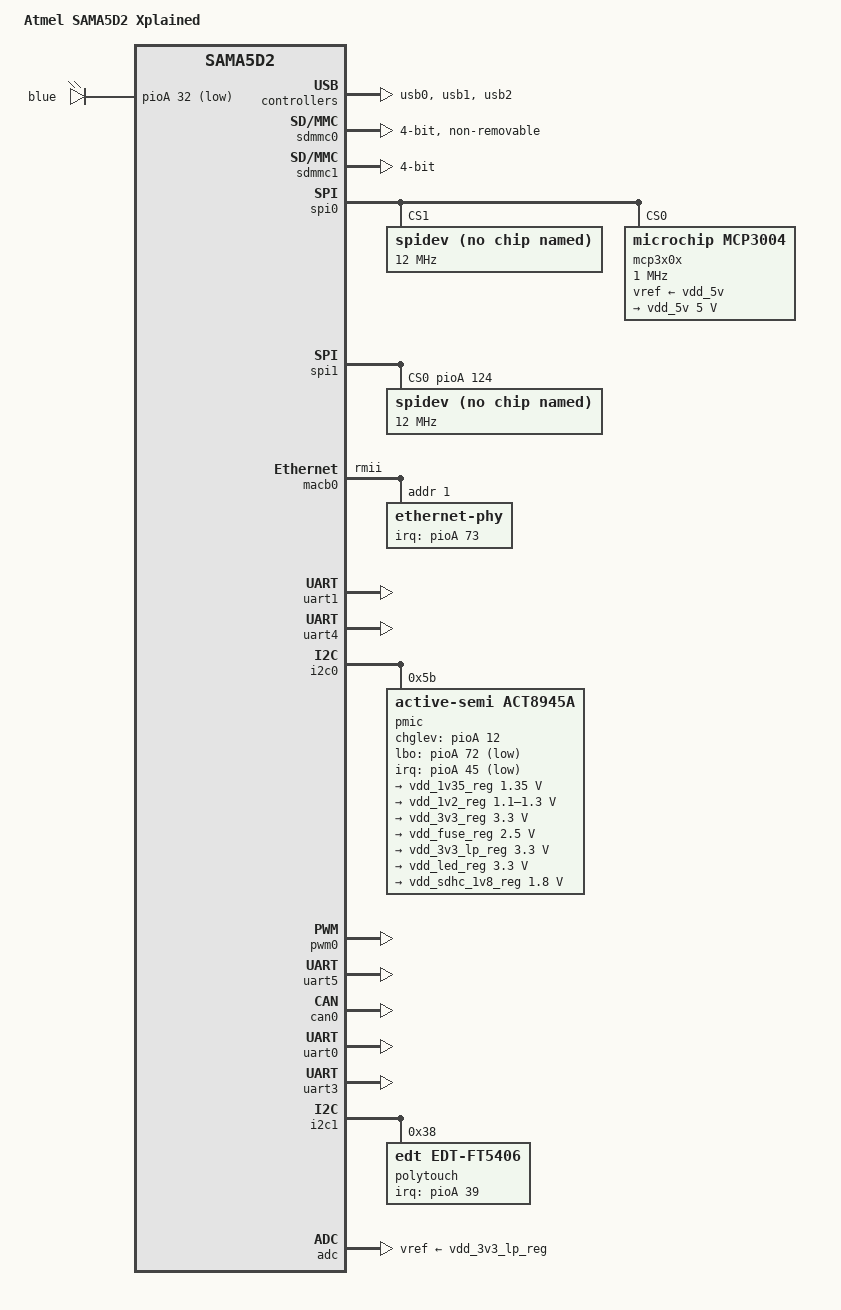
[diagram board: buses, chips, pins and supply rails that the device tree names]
/*
 * at91-sama5d2_xplained_common.dtsi - Device Tree file for SAMA5D2 Xplained board
 *
 *  Copyright (C) 2016 Atmel,
 *                2016 Nicolas Ferre <nicolas.ferre@atmel.com>
 *		  2016 Ludovic.Desroches <ludovic.desroches@atmel.com>
 *
 * This file is dual-licensed: you can use it either under the terms
 * of the GPL or the X11 license, at your option. Note that this dual
 * licensing only applies to this file, and not this project as a
 * whole.
 *
 *  a) This file is free software; you can redistribute it and/or
 *     modify it under the terms of the GNU General Public License as
 *     published by the Free Software Foundation; either version 2 of the
 *     License, or (at your option) any later version.
 *
 *     This file is distributed in the hope that it will be useful,
 *     but WITHOUT ANY WARRANTY; without even the implied warranty of
 *     MERCHANTABILITY or FITNESS FOR A PARTICULAR PURPOSE.  See the
 *     GNU General Public License for more details.
 *
 * Or, alternatively,
 *
 *  b) Permission is hereby granted, free of charge, to any person
 *     obtaining a copy of this software and associated documentation
 *     files (the "Software"), to deal in the Software without
 *     restriction, including without limitation the rights to use,
 *     copy, modify, merge, publish, distribute, sublicense, and/or
 *     sell copies of the Software, and to permit persons to whom the
 *     Software is furnished to do so, subject to the following
 *     conditions:
 *
 *     The above copyright notice and this permission notice shall be
 *     included in all copies or substantial portions of the Software.
 *
 *     THE SOFTWARE IS PROVIDED "AS IS", WITHOUT WARRANTY OF ANY KIND,
 *     EXPRESS OR IMPLIED, INCLUDING BUT NOT LIMITED TO THE WARRANTIES
 *     OF MERCHANTABILITY, FITNESS FOR A PARTICULAR PURPOSE AND
 *     NONINFRINGEMENT. IN NO EVENT SHALL THE AUTHORS OR COPYRIGHT
 *     HOLDERS BE LIABLE FOR ANY CLAIM, DAMAGES OR OTHER LIABILITY,
 *     WHETHER IN AN ACTION OF CONTRACT, TORT OR OTHERWISE, ARISING
 *     FROM, OUT OF OR IN CONNECTION WITH THE SOFTWARE OR THE USE OR
 *     OTHER DEALINGS IN THE SOFTWARE.
 */
#include "Variant_C.dtsi"
#include "sama5d2-pinfunc.h"
#include <dt-bindings/mfd/atmel-flexcom.h>
#include <dt-bindings/gpio/gpio.h>
#include <dt-bindings/pinctrl/at91.h>

/ {
	model = "Atmel SAMA5D2 Xplained";
	compatible = "atmel,sama5d2-xplained", "atmel,sama5d2", "atmel,sama5";

	chosen {
		stdout-path = "serial0:115200n8";
	};

	clocks {
		slow_xtal {
			clock-frequency = <32768>;
		};

		main_xtal {
			clock-frequency = <12000000>;
		};
	};

	ahb {
		usb0: gadget@00300000 {
			atmel,vbus-gpio = <&pioA 31 GPIO_ACTIVE_HIGH>;
			pinctrl-names = "default";
			pinctrl-0 = <&pinctrl_usba_vbus>;
			status = "okay";
		};

		usb1: ohci@00400000 {
			num-ports = <3>;
			atmel,vbus-gpio = <0 /* &pioA 41 GPIO_ACTIVE_HIGH */
					   &pioA 42 GPIO_ACTIVE_HIGH
					   0
					  >;
			pinctrl-names = "default";
			pinctrl-0 = <&pinctrl_usb_default>;
			status = "okay";
		};

		usb2: ehci@00500000 {
			status = "okay";
		};

		sdmmc0: sdio-host@a0000000 {
			bus-width = <4>;
			pinctrl-names = "default";
			pinctrl-0 = <&pinctrl_sdmmc0_default>;
			non-removable;
			mmc-ddr-1_8v;
			status = "okay";
		};

		sdmmc1: sdio-host@b0000000 {
			bus-width = <4>;
			pinctrl-names = "default";
			pinctrl-0 = <&pinctrl_sdmmc1_default>;
			status = "okay"; /* conflict with qspi0 */
		};

		apb {
			hlcdc: hlcdc@f0000000 {
				status = "disabled";

				hlcdc-display-controller {
					pinctrl-names = "default";
					pinctrl-0 = <&pinctrl_lcd_base &pinctrl_lcd_rgb666>;
				};

				hlcdc_pwm: hlcdc-pwm {
					pinctrl-names = "default";
					pinctrl-0 = <&pinctrl_lcd_pwm>;
				};
			};

			pmc: pmc@f0014000 {
				pmc_fast_restart {
					compatible = "atmel,sama5d2-pmc-fast-startup";
					#address-cells = <1>;
					#size-cells = <0>;

					atmel,wakeup-rtc-timer;

					wkpin: input@0 {
						reg = <0>;
					};

					gmac_wol: input@10 {
						reg = <10>;
						atmel,wakeup-active-high;
					};
				};
			};



			spi0: spi@f8000000 {
				pinctrl-names = "default";
				pinctrl-0 = <&pinctrl_spi0_default>;
				status = "okay";

				/*m25p80@0 {
					compatible = "atmel,at25df321a";
					reg = <0>;
					spi-max-frequency = <50000000>;
				};*/

                    spidev@1 {
                        compatible = "spidev";
                        spi-max-frequency = <12000000>;
                        reg = <1>;
                        
                        status = "okay";
                    };
                    
                    mcp3x0x@0 {
                        compatible = "microchip,mcp3004";
                        reg = <0>;
                        
                        spi-max-frequency = <1000000>;
                        vref-supply = <&vdd_5v>;
                        
                        
                        vdd_5v: oscillator {
                            
                            regulator-name = "VDD_5v";
							regulator-min-microvolt = <5000000>;
							regulator-max-microvolt = <5000000>;
							regulator-always-on;
                            
                        };  
                        
                    };

			


                };
                       
                        spi1: spi@fc000000 {
				pinctrl-names = "default";
				pinctrl-0 = <&pinctrl_spi1_default>;
                                cs-gpios = <&pioA 124 0>;
                                
				status = "okay";
                                spidev@0 {
					compatible = "spidev";
					spi-max-frequency = <12000000>;
					reg = <0>;
					
					status = "okay";
				};





			};


















			macb0: ethernet@f8008000 {
				pinctrl-names = "default";
				pinctrl-0 = <&pinctrl_macb0_default &pinctrl_macb0_phy_irq>;
				phy-mode = "rmii";
				status = "okay";

				ethernet-phy@1 {
					reg = <0x1>;
					interrupt-parent = <&pioA>;
					interrupts = <73 IRQ_TYPE_LEVEL_LOW>;
				};
			};

			/*pdmic@f8018000 {
				pinctrl-names = "default";
				pinctrl-0 = <&pinctrl_pdmic_default>;
				atmel,model = "PDMIC @ sama5d2_xplained";
				atmel,mic-min-freq = <1000000>;
				atmel,mic-max-freq = <3246000>;
				atmel,mic-offset = <0x0>;
				status = "disabled";
			};*/

			uart1: serial@f8020000 {
				pinctrl-names = "default";
				pinctrl-0 = <&pinctrl_uart1_default>;
				atmel,use-dma-rx;
				atmel,use-dma-tx;
				status = "okay";
			};

            
            uart4: serial@fc00c000 {
				pinctrl-names = "default";
				pinctrl-0 = <&pinctrl_uart4_default>;
				atmel,use-dma-rx;
				atmel,use-dma-tx;
				status = "okay";
			};
            
			i2c0: i2c@f8028000 {
				dmas = <0>, <0>;
				pinctrl-names = "default";
				pinctrl-0 = <&pinctrl_i2c0_default>;
				i2c-sda-hold-time-ns = <350>;
				status = "okay";

				pmic@5b {
					compatible = "active-semi,act8945a";
					reg = <0x5b>;
					active-semi,vsel-high;
					active-semi,chglev-gpios = <&pioA 12 GPIO_ACTIVE_HIGH>;
					active-semi,lbo-gpios = <&pioA 72 GPIO_ACTIVE_LOW>;
					active-semi,irq_gpios = <&pioA 45 GPIO_ACTIVE_LOW>;
					active-semi,input-voltage-threshold-microvolt = <6600>;
					active-semi,precondition-timeout = <40>;
					active-semi,total-timeout = <3>;
					pinctrl-names = "default";
					pinctrl-0 = <&pinctrl_charger_chglev &pinctrl_charger_lbo &pinctrl_charger_irq>;
					status = "okay";

					regulators {
						vdd_1v35_reg: REG_DCDC1 {
							regulator-name = "VDD_1V35";
							regulator-min-microvolt = <1350000>;
							regulator-max-microvolt = <1350000>;
							regulator-always-on;
						};

						vdd_1v2_reg: REG_DCDC2 {
							regulator-name = "VDD_1V2";
							regulator-min-microvolt = <1100000>;
							regulator-max-microvolt = <1300000>;
							regulator-always-on;
						};

						vdd_3v3_reg: REG_DCDC3 {
							regulator-name = "VDD_3V3";
							regulator-min-microvolt = <3300000>;
							regulator-max-microvolt = <3300000>;
							regulator-always-on;
						};

						vdd_fuse_reg: REG_LDO1 {
							regulator-name = "VDD_FUSE";
							regulator-min-microvolt = <2500000>;
							regulator-max-microvolt = <2500000>;
							regulator-always-on;
						};

						vdd_3v3_lp_reg: REG_LDO2 {
							regulator-name = "VDD_3V3_LP";
							regulator-min-microvolt = <3300000>;
							regulator-max-microvolt = <3300000>;
							regulator-always-on;
						};

						vdd_led_reg: REG_LDO3 {
							regulator-name = "VDD_LED";
							regulator-min-microvolt = <3300000>;
							regulator-max-microvolt = <3300000>;
							regulator-always-on;
						};

						vdd_sdhc_1v8_reg: REG_LDO4 {
							regulator-name = "VDD_SDHC_1V8";
							regulator-min-microvolt = <1800000>;
							regulator-max-microvolt = <1800000>;
							regulator-always-on;
						};
					};
				};
			};

			pwm0: pwm@f802c000 {
				status = "okay";
			};

			flx0: flexcom@f8034000 {
				atmel,flexcom-mode = <ATMEL_FLEXCOM_MODE_USART>;
				status = "okay"; /* conflict with ISC_D2 & ISC_D3 data pins */

				uart5: serial@200 {
					compatible = "atmel,at91sam9260-usart";
					reg = <0x200 0x200>;
					interrupts = <19 IRQ_TYPE_LEVEL_HIGH 7>;
					clocks = <&flx0_clk>;
					clock-names = "usart";
					pinctrl-names = "default";
					pinctrl-0 = <&pinctrl_flx0_default>;
					atmel,fifo-size = <32>;
					status = "okay";
				};

                               /*usart0: serial@fff8c000 {
		compatible = "atmel,at91sam9260-usart";
		reg = <0xfff8c000 0x4000>;
		interrupts = <7>;
		clocks = <&usart0_clk>;
		clock-names = "usart";
		atmel,use-dma-rx;
		atmel,use-dma-tx;
		rts-gpios = <&pioD 15 GPIO_ACTIVE_LOW>;
		cts-gpios = <&pioD 16 GPIO_ACTIVE_LOW>;
		dtr-gpios = <&pioD 17 GPIO_ACTIVE_LOW>;
		dsr-gpios = <&pioD 18 GPIO_ACTIVE_LOW>;
		dcd-gpios = <&pioD 20 GPIO_ACTIVE_LOW>;
		rng-gpios = <&pioD 19 GPIO_ACTIVE_LOW>;
	};*/


















			};

			shdwc@f8048010 {
				atmel,shdwc-debouncer = <976>;
				atmel,wakeup-rtc-timer;

				input@0 {
					reg = <0>;
					atmel,wakeup-type = "low";
				};
			};

			watchdog@f8048040 {
				status = "okay";
			};

			/*i2s0: i2s@f8050000 {
				pinctrl-names = "default";
				pinctrl-0 = <&pinctrl_i2s0_default>;
			};*/

			can0: can@f8054000 {
				pinctrl-names = "default";
				pinctrl-0 = <&pinctrl_can0_default>;
                                status = "okay";
			};
                        
                        uart0: serial@f801c000 {
				atmel,use-dma-rx;
				atmel,use-dma-tx;
				pinctrl-names = "default";
				pinctrl-0 = <&pinctrl_uart0_default>;
				status = "okay";
			};

			uart3: serial@fc008000 {
				atmel,use-dma-rx;
				atmel,use-dma-tx;
				pinctrl-names = "default";
				pinctrl-0 = <&pinctrl_uart3_default>;
				status = "okay";
			};

			/*flx4: flexcom@fc018000 {
				atmel,flexcom-mode = <ATMEL_FLEXCOM_MODE_TWI>;
				status = "disabled";

				i2c2: i2c@600 {
					compatible = "atmel,sama5d2-i2c";
					reg = <0x600 0x200>;
					interrupts = <23 IRQ_TYPE_LEVEL_HIGH 7>;
					dmas = <0>, <0>;
					dma-names = "tx", "rx";
					#address-cells = <1>;
					#size-cells = <0>;
					clocks = <&flx4_clk>;
					pinctrl-names = "default";
					pinctrl-0 = <&pinctrl_flx4_default>;
					atmel,fifo-size = <16>;
					status = "disabled";
				};
			};*/

			i2c1: i2c@fc028000 {
				dmas = <0>, <0>;
				pinctrl-names = "default";
				pinctrl-0 = <&pinctrl_i2c1_default>;
				status = "okay";


                                polytouch: edt-ft5x06@38 {
				compatible = "edt,edt-ft5406", "edt,edt-ft5x06";
				reg = <0x38>;
				pinctrl-names = "default";
				interrupt-parent = <&pioA>;
				interrupts = <39 IRQ_TYPE_EDGE_FALLING>;
                                //touchscreen-inverted-x;
                                touchscreen-swapped-x-y;
				//reset-gpios = <&gpio2 6 GPIO_ACTIVE_LOW>;
				//wake-gpios = <&gpio4 9 GPIO_ACTIVE_HIGH>;
				touchscreen-size-x = <480>;
                		touchscreen-size-y = <800>;

				};
			};

			adc: adc@fc030000 {
				vddana-supply = <&vdd_3v3_lp_reg>;
				vref-supply = <&vdd_3v3_lp_reg>;
				pinctrl-names = "default";
				pinctrl-0 = <&pinctrl_adc_default>;
				status = "okay";
			};

                       /* adc1: adc@fc030000 {
				vddana-supply = <&vdd_3v3_lp_reg>;
				vref-supply = <&vdd_3v3_lp_reg>;
				pinctrl-names = "default";
				pinctrl-0 = <&pinctrl_adc1_default>;
				status = "okay";
			};

                        adc2: adc@fc030000 {
				vddana-supply = <&vdd_3v3_lp_reg>;
				vref-supply = <&vdd_3v3_lp_reg>;
				pinctrl-names = "default";
				pinctrl-0 = <&pinctrl_adc2_default>;
				status = "okay";
			};

                        adc3: adc@fc030000 {
				vddana-supply = <&vdd_3v3_lp_reg>;
				vref-supply = <&vdd_3v3_lp_reg>;
				pinctrl-names = "default";
				pinctrl-0 = <&pinctrl_adc3_default>;
				status = "okay";
			};*/









			pinctrl@fc038000 {
				/*
				 * There is no real pinmux for ADC, if the pin
				 * is not requested by another peripheral then
				 * the muxing is done when channel is enabled.
				 * Requesting pins for ADC is GPIO is
				 * encouraged to prevent conflicts and to
				 * disable bias in order to be in the same
				 * state when the pin is not muxed to the adc.
				 */
				
                                 pinctrl_adc_default: adc_default {
					pinmux = <PIN_PD23__GPIO>,
                                                  <PIN_PD24__GPIO>,                
                                                  <PIN_PD29__GPIO>,
                                                  <PIN_PD30__GPIO>;
					bias-disable;
				};

                               /*pinctrl_adc1_default: adc1_default {
					pinmux = //<PIN_PD23__GPIO>;
                                                  <PIN_PD24__GPIO>;                
                                                  //<PIN_PD29__GPIO>,
                                                  // <PIN_PD30__GPIO>;
					bias-disable;
				};

                                pinctrl_adc2_default: adc2_default {
					pinmux = //<PIN_PD23__GPIO>;
                                                  //<PIN_PD24__GPIO>;                
                                                  <PIN_PD29__GPIO>;
                                                  // <PIN_PD30__GPIO>;
					bias-disable;
				};

                               pinctrl_adc3_default: adc3_default {
					pinmux = //<PIN_PD23__GPIO>;
                                                  //<PIN_PD24__GPIO>;                
                                                  //<PIN_PD29__GPIO>,
                                                   <PIN_PD30__GPIO>;
					bias-disable;
				};*/








				pinctrl_can0_default: can0_default {
					pinmux = <PIN_PC1__CANTX0>,
						 <PIN_PC2__CANRX0>;
					bias-disable;
				};

				pinctrl_can1_default: can1_default {
					pinmux = <PIN_PC26__CANTX1>,
						 <PIN_PC27__CANRX1>;
					bias-disable;
				};

				pinctrl_charger_chglev: charger_chglev {
					pinmux = <PIN_PA12__GPIO>;
					bias-disable;
				};

				pinctrl_charger_irq: charger_irq {
					pinmux = <PIN_PB13__GPIO>;
					bias-disable;
				};

				pinctrl_charger_lbo: charger_lbo {
					pinmux = <PIN_PC8__GPIO>;
					bias-pull-up;
				};

				/*pinctrl_classd_default: classd_default {
					pinmux = <PIN_PB1__CLASSD_R0>,
						 <PIN_PB2__CLASSD_R1>,
						 <PIN_PB3__CLASSD_R2>,
						 <PIN_PB4__CLASSD_R3>;
					bias-pull-up;
				};*/

				pinctrl_flx0_default: flx0_default {
					pinmux = <PIN_PB28__FLEXCOM0_IO0>,
						 <PIN_PB29__FLEXCOM0_IO1>;
					bias-disable;
				};

				/*pinctrl_flx4_default: flx4_default {
					pinmux = <PIN_PD12__FLEXCOM4_IO0>,
						 <PIN_PD13__FLEXCOM4_IO1>;
					bias-disable;
				};*/

				pinctrl_i2c0_default: i2c0_default {
					pinmux = <PIN_PD21__TWD0>,
						 <PIN_PD22__TWCK0>;
					bias-disable;
				};

				pinctrl_i2c1_default: i2c1_default {
					pinmux = <PIN_PD4__TWD1>,
						 <PIN_PD5__TWCK1>;
					bias-disable;
				};

				/*pinctrl_i2s0_default: i2s0_default {
					pinmux = <PIN_PC1__I2SC0_CK>,
						 <PIN_PC2__I2SC0_MCK>,
						 <PIN_PC3__I2SC0_WS>,
						 <PIN_PC4__I2SC0_DI0>,
						 <PIN_PC5__I2SC0_DO0>;
					bias-disable;
				};

				pinctrl_isc_base: isc_base {
					pinmux = <PIN_PC4__ISC_PCK>,
						 <PIN_PC5__ISC_VSYNC>,
						 <PIN_PC6__ISC_HSYNC>,
						 <PIN_PC7__ISC_MCK>;
					bias-disable;
				};

				pinctrl_isc_data_8bit: isc_data_8bit {
					pinmux = <PIN_PB25__ISC_D11>,
						 <PIN_PB24__ISC_D10>,
						 <PIN_PC3__ISC_D9>,
						 <PIN_PC2__ISC_D8>,
						 <PIN_PC1__ISC_D7>,
						 <PIN_PC0__ISC_D6>,
						 <PIN_PB31__ISC_D5>,
						 <PIN_PB30__ISC_D4>;
					bias-disable;
				};

				pinctrl_isc_data_9_10: isc_data_9_10 {
					pinmux = <PIN_PB29__ISC_D3>,
						 <PIN_PB28__ISC_D2>;
					bias-disable;
				};

				pinctrl_isc_data_11_12: isc_data_11_12 {
					pinmux = <PIN_PB27__ISC_D1>,
						 <PIN_PB26__ISC_D0>;
					bias-disable;
				};*/

				pinctrl_key_gpio_default: key_gpio_default {
					pinmux = //<PIN_PD2__GPIO>,
                                                 //<PIN_PD3__GPIO>,
                                                 <PIN_PD14__GPIO>,
                                                 <PIN_PD15__GPIO>,
                                                 <PIN_PD16__GPIO>,
                                                 <PIN_PB31__GPIO>,
                                                 <PIN_PB1__GPIO>,
                                                 <PIN_PD17__GPIO>;
					bias-pull-up;
				};

				pinctrl_lcd_base: pinctrl_lcd_base {
					pinmux = <PIN_PC30__LCDVSYNC>,
						 <PIN_PC31__LCDHSYNC>,
						 <PIN_PD1__LCDDEN>,
						 <PIN_PD0__LCDPCK>;
					bias-disable;
				};

				pinctrl_lcd_pwm: pinctrl_lcd_pwm {
					pinmux = <PIN_PC28__LCDPWM>;
					bias-disable;
				};

				pinctrl_lcd_rgb666: pinctrl_lcd_rgb666 {
					pinmux = <PIN_PC10__LCDDAT2>,
						 <PIN_PC11__LCDDAT3>,
						 <PIN_PC12__LCDDAT4>,
						 <PIN_PC13__LCDDAT5>,
						 <PIN_PC14__LCDDAT6>,
						 <PIN_PC15__LCDDAT7>,
						 <PIN_PC16__LCDDAT10>,
						 <PIN_PC17__LCDDAT11>,
						 <PIN_PC18__LCDDAT12>,
						 <PIN_PC19__LCDDAT13>,
						 <PIN_PC20__LCDDAT14>,
						 <PIN_PC21__LCDDAT15>,
						 <PIN_PC22__LCDDAT18>,
						 <PIN_PC23__LCDDAT19>,
						 <PIN_PC24__LCDDAT20>,
						 <PIN_PC25__LCDDAT21>,
						 <PIN_PC26__LCDDAT22>,
						 <PIN_PC27__LCDDAT23>;
					bias-disable;
				};

				pinctrl_led_gpio_default: led_gpio_default {
					pinmux = <PIN_PB0__GPIO>;
					bias-pull-up;
				};

				pinctrl_macb0_default: macb0_default {
					pinmux = <PIN_PB14__GTXCK>,
						 <PIN_PB15__GTXEN>,
						 <PIN_PB16__GRXDV>,
						 <PIN_PB17__GRXER>,
						 <PIN_PB18__GRX0>,
						 <PIN_PB19__GRX1>,
						 <PIN_PB20__GTX0>,
						 <PIN_PB21__GTX1>,
						 <PIN_PB22__GMDC>,
						 <PIN_PB23__GMDIO>;
					bias-disable;
				};

				pinctrl_macb0_phy_irq: macb0_phy_irq {
					pinmux = <PIN_PC9__GPIO>;
					bias-disable;
				};

				/*pinctrl_pdmic_default: pdmic_default {
					pinmux = <PIN_PB26__PDMIC_DAT>,
						<PIN_PB27__PDMIC_CLK>;
					bias-disable;
				};*/

				pinctrl_sdmmc0_default: sdmmc0_default {
					cmd_data {
						pinmux = <PIN_PA1__SDMMC0_CMD>,
							 <PIN_PA2__SDMMC0_DAT0>,
							 <PIN_PA3__SDMMC0_DAT1>,
							 <PIN_PA4__SDMMC0_DAT2>,
							 <PIN_PA5__SDMMC0_DAT3>,
							 <PIN_PA6__SDMMC0_DAT4>,
							 <PIN_PA7__SDMMC0_DAT5>,
							 <PIN_PA8__SDMMC0_DAT6>,
							 <PIN_PA9__SDMMC0_DAT7>;
						bias-pull-up;
					};

					ck_cd_rstn_vddsel {
						pinmux = <PIN_PA0__SDMMC0_CK>,
							 <PIN_PA10__SDMMC0_RSTN>,
							 <PIN_PA11__SDMMC0_VDDSEL>,
							 <PIN_PA13__SDMMC0_CD>;
						bias-disable;
					};
				};

				pinctrl_sdmmc1_default: sdmmc1_default {
					cmd_data {
						pinmux = <PIN_PA28__SDMMC1_CMD>,
							 <PIN_PA18__SDMMC1_DAT0>,
							 <PIN_PA19__SDMMC1_DAT1>,
							 <PIN_PA20__SDMMC1_DAT2>,
							 <PIN_PA21__SDMMC1_DAT3>;
						bias-pull-up;
					};

					conf-ck_cd {
						pinmux = <PIN_PA22__SDMMC1_CK>,
							 <PIN_PA30__SDMMC1_CD>;
						bias-disable;
					};
				};

				pinctrl_sensor_power: sensor_power {
					pinmux = <PIN_PB12__GPIO>;
					bias-disable;
				};

				pinctrl_sensor_reset: sensor_reset {
					pinmux = <PIN_PB11__GPIO>;
					bias-disable;
				};

				pinctrl_spi0_default: spi0_default {
					pinmux = <PIN_PA14__SPI0_SPCK>,
						 <PIN_PA15__SPI0_MOSI>,
						 <PIN_PA16__SPI0_MISO>,
						 <PIN_PA29__SPI0_NPCS1>;
                                                 //<PIN_PA27__SPI0_NPCS2>;
					bias-disable;
				};

                                pinctrl_spi1_default: spi1_default {
					pinmux = <PIN_PD25__SPI1_SPCK>,
						 <PIN_PD26__SPI1_MOSI>,
						 <PIN_PD27__SPI1_MISO>;
						 //<PIN_PD28__SPI1_NPCS0>;
					bias-disable;
				};








				pinctrl_uart1_default: uart1_default {
					pinmux = <PIN_PD2__URXD1>,
						 <PIN_PD3__UTXD1>;
					bias-disable;
				};
                               
                                pinctrl_uart0_default: uart0_default {
					pinmux = <PIN_PB26__URXD0>,
						 <PIN_PB27__UTXD0>;
					bias-disable;
				};

                // new paras added
                pinctrl_uart4_default: uart4_default {
					pinmux = <PIN_PB3__URXD4>,
						 <PIN_PB4__UTXD4>;
					bias-disable;
				};





				pinctrl_uart3_default: uart3_default {
					pinmux = <PIN_PB11__URXD3>,
						 <PIN_PB12__UTXD3>;
					bias-disable;
				};

				pinctrl_usb_default: usb_default {
					pinmux = <PIN_PB10__GPIO>;
					bias-disable;
				};

				pinctrl_usba_vbus: usba_vbus {
					pinmux = <PIN_PA31__GPIO>;
					bias-disable;
				};

			};

			/*classd: classd@fc048000 {
				pinctrl-names = "default";
				pinctrl-0 = <&pinctrl_classd_default>;
				atmel,pwm-type = "diff";
				atmel,non-overlap-time = <10>;
				status = "okay";
			};*/

			can1: can@fc050000 {
				pinctrl-names = "default";
				pinctrl-0 = <&pinctrl_can1_default>;
			};
		};
	};

	gpio_keys {
		compatible = "gpio-keys";

		pinctrl-names = "default";
		pinctrl-0 = <&pinctrl_key_gpio_default>;
                gpios = <&pioA 98 GPIO_ACTIVE_LOW>,
                         <&pioA 99 GPIO_ACTIVE_LOW>,
                         <&pioA 110 GPIO_ACTIVE_LOW>,
                         <&pioA 111 GPIO_ACTIVE_LOW>,
                         <&pioA 112 GPIO_ACTIVE_LOW>,
                          <&pioA 63 GPIO_ACTIVE_LOW>,
                          <&pioA 33 GPIO_ACTIVE_LOW>,
                          <&pioA 113 GPIO_ACTIVE_LOW>;

		/*bp1 {
			label = "PB_USER";
			gpios = <&pioA 41 GPIO_ACTIVE_LOW>;
			linux,code = <0x104>;
		};*/
	};

	leds {
		compatible = "gpio-leds";
		pinctrl-names = "default";
		pinctrl-0 = <&pinctrl_led_gpio_default>;
		status = "okay";


		blue {
			label = "blue";
			gpios = <&pioA 32 GPIO_ACTIVE_LOW>;
			linux,default-trigger = "heartbeat";
		};
	};
};
